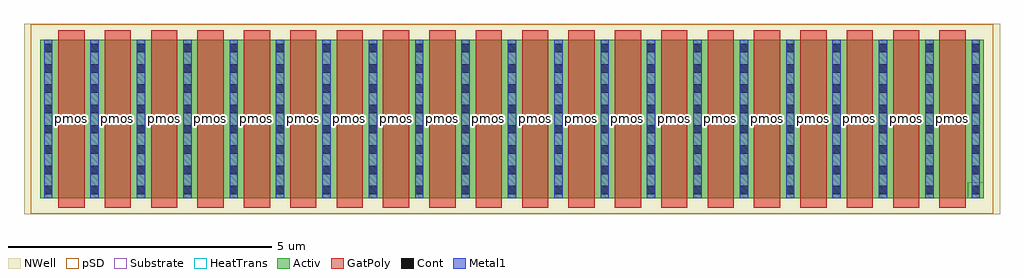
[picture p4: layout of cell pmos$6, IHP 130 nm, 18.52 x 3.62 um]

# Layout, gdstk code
import gdstk
lib = gdstk.Library(unit=1e-6, precision=5e-09)
def R(c, l, rs):  # rectangles x0, y0, x1, y1
    for r in rs: c.add(gdstk.rectangle(r[:2], r[2:], *l))
def A(c, l, x, y, w, h, nx, ny, dx, dy):  # array of equal rectangles
    R(c, l, [(x+i*dx, y+j*dy, x+i*dx+w, y+j*dy+h) for i in range(nx) for j in range(ny)])
Activ = (1, 0)
GatPoly = (5, 0)
Cont = (6, 0)
Metal1 = (8, 0)
pSD = (14, 0)
NWell = (31, 0)
Substrate = (40, 0)
HeatTrans = (51, 0)

pmos_6 = lib.new_cell('pmos$6')
A(pmos_6, Activ, 0, 0, 0.3, 0.3, 21, 1, 0.88, 0)
R(pmos_6, Activ, [(0,0,17.9,3)])
A(pmos_6, GatPoly, 0.34, -0.18, 0.5, 3.36, 20, 1, 0.88, 0)
R(pmos_6, GatPoly, [(0.34,-0.18,0.84,3.18)])
A(pmos_6, Cont, 0.07, 0.07, 0.16, 0.16, 21, 7, 0.88, 0.385)
A(pmos_6, Cont, 0.07, 2.77, 0.16, 0.16, 21, 1, 0.88, 0)
A(pmos_6, Metal1, 0.95, 0, 0.16, 3, 20, 1, 0.88, 0)
R(pmos_6, Metal1, [(0.07,0,0.23,3), (0.07,0,0.23,3), (0.95,0,1.11,3)])
R(pmos_6, pSD, [(-0.18,-0.3,18.08,3.3)])
R(pmos_6, NWell, [(-0.31,-0.31,18.21,3.31)])
R(pmos_6, Substrate, [(17.6,0,17.9,0.3)])
A(pmos_6, HeatTrans, 0.34, -0.18, 0.5, 3.36, 20, 1, 0.88, 0)
pmos_6.add(gdstk.Label('pmos', (0.59,1.5), layer=63, texttype=0))
pmos_6.add(gdstk.Label('pmos', (0.59,1.5), layer=51, texttype=0))
pmos_6.add(gdstk.Label('pmos', (1.47,1.5), layer=51, texttype=0))
pmos_6.add(gdstk.Label('pmos', (2.35,1.5), layer=51, texttype=0))
pmos_6.add(gdstk.Label('pmos', (3.23,1.5), layer=51, texttype=0))
pmos_6.add(gdstk.Label('pmos', (4.11,1.5), layer=51, texttype=0))
pmos_6.add(gdstk.Label('pmos', (4.99,1.5), layer=51, texttype=0))
pmos_6.add(gdstk.Label('pmos', (5.87,1.5), layer=51, texttype=0))
pmos_6.add(gdstk.Label('pmos', (6.75,1.5), layer=51, texttype=0))
pmos_6.add(gdstk.Label('pmos', (7.63,1.5), layer=51, texttype=0))
pmos_6.add(gdstk.Label('pmos', (8.51,1.5), layer=51, texttype=0))
pmos_6.add(gdstk.Label('pmos', (9.39,1.5), layer=51, texttype=0))
pmos_6.add(gdstk.Label('pmos', (10.27,1.5), layer=51, texttype=0))
pmos_6.add(gdstk.Label('pmos', (11.15,1.5), layer=51, texttype=0))
pmos_6.add(gdstk.Label('pmos', (12.03,1.5), layer=51, texttype=0))
pmos_6.add(gdstk.Label('pmos', (12.91,1.5), layer=51, texttype=0))
pmos_6.add(gdstk.Label('pmos', (13.79,1.5), layer=51, texttype=0))
pmos_6.add(gdstk.Label('pmos', (14.67,1.5), layer=51, texttype=0))
pmos_6.add(gdstk.Label('pmos', (15.55,1.5), layer=51, texttype=0))
pmos_6.add(gdstk.Label('pmos', (16.43,1.5), layer=51, texttype=0))
pmos_6.add(gdstk.Label('pmos', (17.31,1.5), layer=51, texttype=0))

lib.write_gds('pmos_6.gds')
